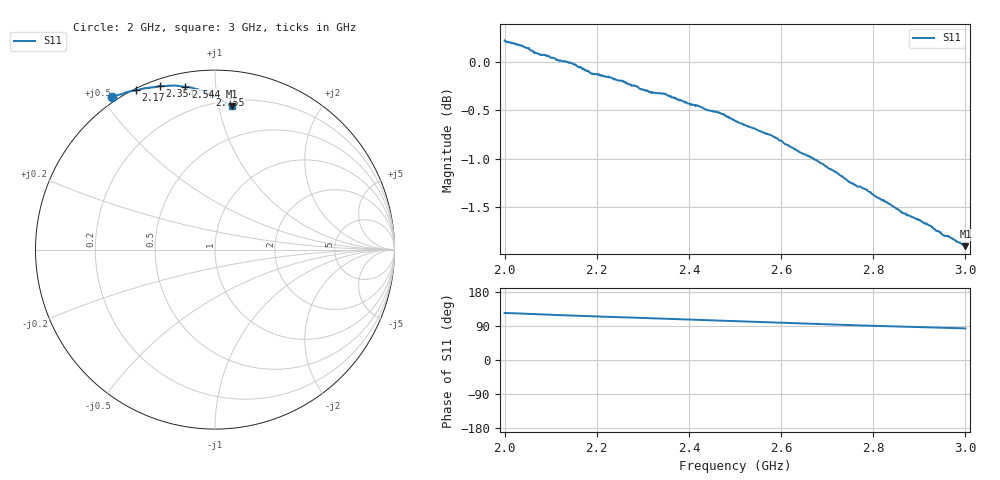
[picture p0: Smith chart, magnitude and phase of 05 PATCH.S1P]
!Agilent Technologies,E5071C,MY46105125,A.08.12
!Date: Tue Sep 16 09:42:05 2014
!Data & Calibration Information:
!Freq	S11:SOLT1(ON)
# Hz S RI R 50
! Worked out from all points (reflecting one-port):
!   801 points, 2 GHz to 3 GHz, reference 50 ohm
!   lowest |S11| = -1.9 dB at 3 GHz (marker M1), VSWR 9.17, Z = 12.1 + j54.6 ohm
!   phase of S11 starts at 124 deg and turns -41 deg over the sweep
!   S11 on the Smith chart (normalised r, x): 2 GHz: -0.02, +0.53; 2.17 GHz: 0.01, +0.62; 2.354 GHz: 0.03, +0.72; 2.544 GHz: 0.07, +0.83; 2.755 GHz: 0.14, +0.96; 3 GHz: 0.24, +1.09
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2e9  -0.5745 0.8495
2.0375e9  -0.5489 0.8589
2.0675e9  -0.5206 0.8658
2.1e9  -0.4913 0.8764
2.11375e9  -0.4804 0.8797
2.125e9  -0.4754 0.8806
2.17e9  -0.4414 0.8874
2.21375e9  -0.4048 0.8961
2.25e9  -0.3812 0.9002
2.27875e9  -0.3619 0.9018
2.3e9  -0.3442 0.9045
2.35375e9  -0.3058 0.9109
2.375e9  -0.2913 0.911
2.435e9  -0.2443 0.9132
2.4625e9  -0.2258 0.9145
2.5e9  -0.1988 0.9107
2.54375e9  -0.1653 0.9087
2.5825e9  -0.1393 0.9045
2.625e9  -0.1091 0.8963
2.675e9  -0.0755 0.8867
2.75e9  -0.031 0.8656
2.755e9  -0.0281 0.8646
2.78375e9  -0.012 0.8595
2.82e9  0.00481 0.8485
2.875e9  0.0344 0.8327
2.92125e9  0.0546 0.8215
2.9525e9  0.0691 0.8105
3e9  0.0922 0.798
